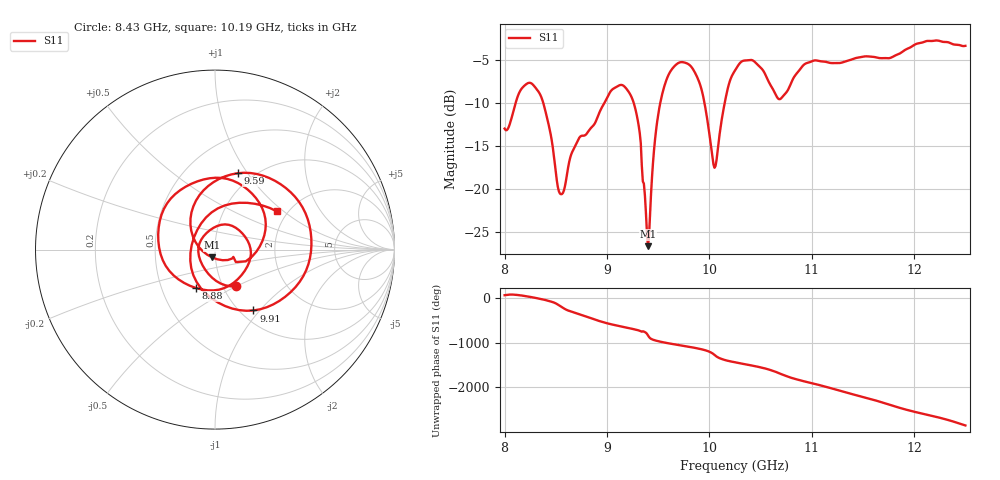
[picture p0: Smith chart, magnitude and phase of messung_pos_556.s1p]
#  HZ  S  RI  R  50.00
! Rohde & Schwarz Vector Network Analyzer
! Rohde-Schwarz,ZNA43-4Port,1332450044101932,2.92
! Created: UTC 6/1/2026, 11:33:46 AM
! freq[Hz]  re:S11  im:S11
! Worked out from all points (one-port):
!   451 points, 8 GHz to 12.5 GHz, reference 50 ohm
!   lowest |S11| = -26.7 dB at 9.4 GHz (marker M1), VSWR 1.10, Z = 48.2 - j4.17 ohm
!   |S11| at or under -10 dB: 8.376 GHz to 8.976 GHz (599.8 MHz wide, 6.91 % of centre); 9.26 GHz to 9.521 GHz (260.7 MHz wide, 2.78 % of centre); 9.951 GHz to 10.15 GHz (198.5 MHz wide, 1.98 % of centre)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
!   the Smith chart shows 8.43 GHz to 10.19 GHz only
!   S11 on the Smith chart (normalised r, x): 8.43 GHz: 1.15, -0.50; 8.88 GHz: 0.74, -0.34; 9.59 GHz: 0.85, +0.90; 9.91 GHz: 1.15, -0.93; 10.19 GHz: 1.75, +0.90
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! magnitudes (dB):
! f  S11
! 8 GHz  -13.0
! 8.15 GHz  -8.7
! 8.24 GHz  -7.7
! 8.35 GHz  -9.1
! 8.43 GHz  -12.6
! 8.52 GHz  -19.8
! 8.57 GHz  -20.5
! 8.67 GHz  -15.5
! 8.88 GHz  -12.4
! 9.13 GHz  -7.9
! 9.22 GHz  -8.9
! 9.29 GHz  -11.4
! 9.4 GHz  -26.7
! 9.49 GHz  -12.2
! 9.59 GHz  -7.1
! 9.69 GHz  -5.4
! 9.81 GHz  -5.7
! 9.91 GHz  -7.9
! 10.05 GHz  -17.6
! 10.19 GHz  -7.9
! 10.25 GHz  -6.3
! 10.43 GHz  -5.1
! 10.68 GHz  -9.6
! 10.82 GHz  -7.2
! 11.01 GHz  -5.1
! 11.38 GHz  -5.0
! 11.94 GHz  -3.7
! 12.5 GHz  -3.4
